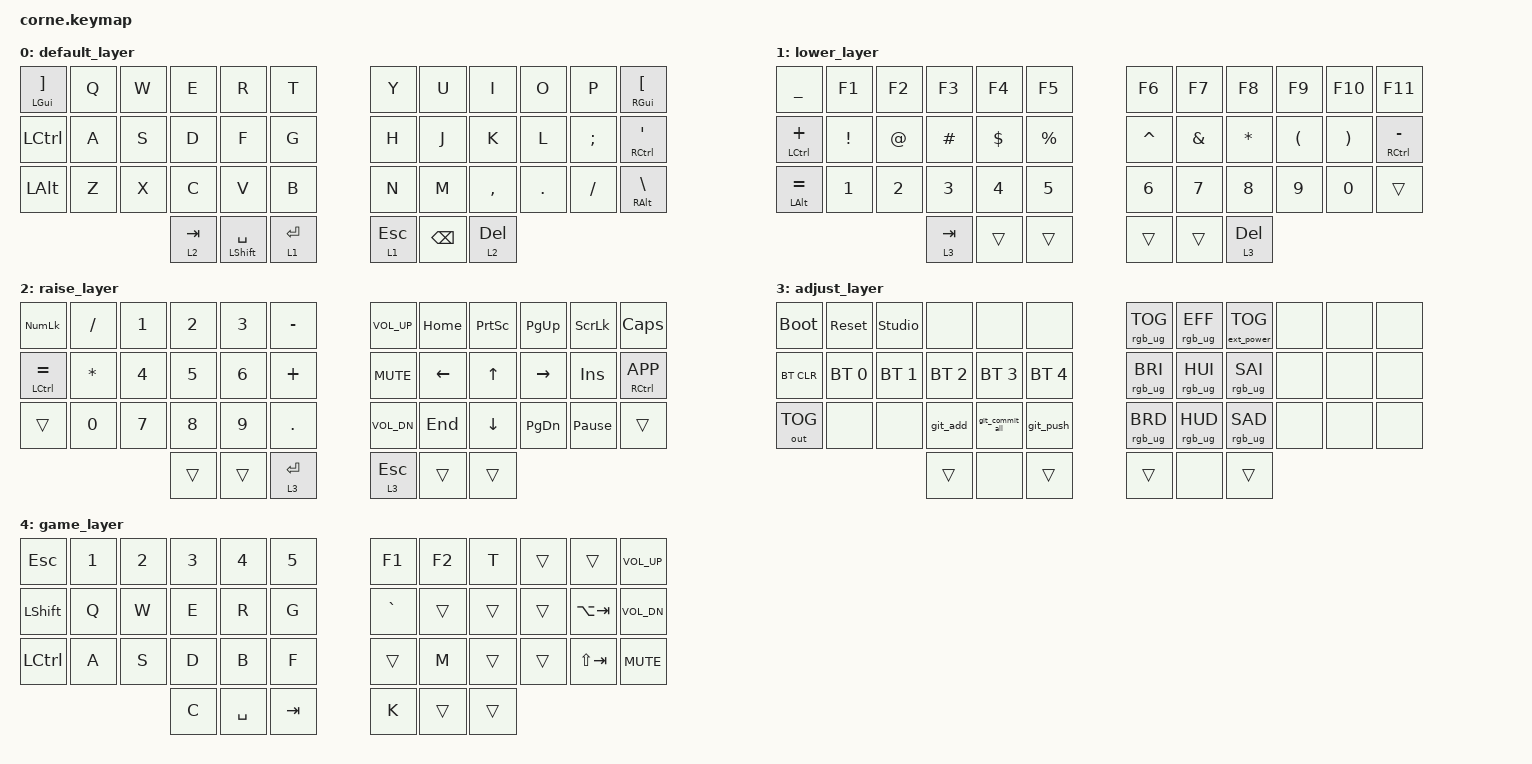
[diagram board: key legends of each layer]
#include <behaviors.dtsi>
#include <dt-bindings/zmk/bt.h>
#include <dt-bindings/zmk/ext_power.h>
#include <dt-bindings/zmk/keys.h>
#include <dt-bindings/zmk/outputs.h>
#include <dt-bindings/zmk/rgb.h>

#define DEF 0
#define LWR 1
#define RSE 2
#define ADJ 3
#define GME 4

&led_strip { chain-length = <27>; };

&lt { quick-tap-ms = <200>; };

&mt { quick-tap-ms = <200>; };

/ {
    combos {
        compatible = "zmk,combos";

        combo_to_game_layer {
            bindings = <&to 4>;
            key-positions = <27 14>;
            layers = <0>;
        };

        combo_to_default {
            bindings = <&to 0>;
            key-positions = <15 3>;
            layers = <4>;
        };

        combo_backspace {
            bindings = <&kp BACKSPACE>;
            key-positions = <37 36>;
            layers = <0>;
        };

        combo_delete {
            bindings = <&kp DEL>;
            key-positions = <37 38>;
            layers = <0>;
        };

        combo_git_pull {
            bindings = <&git_pull>;
            key-positions = <29 28>;
            layers = <3>;
        };

        combo_cs_mic {
            bindings = <&kp K>;
            key-positions = <37 38>;
            layers = <4>;
        };

        combo_copy {
            bindings = <&kp LC(C)>;
            key-positions = <2 3 4>;
            layers = <0>;
        };

        combo_paste {
            bindings = <&kp LC(V)>;
            key-positions = <2 4>;
            layers = <0>;
        };

        combo_cut {
            bindings = <&kp LC(X)>;
            key-positions = <2 3>;
            layers = <0>;
        };
    };

    macros {
        git_status: git_status {
            compatible = "zmk,behavior-macro";
            #binding-cells = <0>;
            bindings = <&kp G &kp I &kp T &kp SPACE &kp S &kp T &kp A &kp T &kp U &kp S>;
            label = "GIT_STATUS";
        };

        git_commit_all: git_commit_all {
            compatible = "zmk,behavior-macro";
            #binding-cells = <0>;
            bindings = <&kp G &kp I &kp T &kp SPACE &kp C &kp O &kp M &kp M &kp I &kp T &kp SPACE &kp MINUS &kp A &kp SPACE &kp MINUS &kp M &kp SPACE &kp DQT &kp DQT &kp LEFT_ARROW>;
            label = "GIT_COMMIT";
        };

        git_add: git_add {
            compatible = "zmk,behavior-macro";
            #binding-cells = <0>;
            bindings = <&kp G &kp I &kp T &kp SPACE &kp A &kp D &kp D &kp SPACE &kp DOT>;
            label = "GIT_ADD";
        };

        git_pull: git_pull {
            compatible = "zmk,behavior-macro";
            #binding-cells = <0>;
            bindings = <&kp G &kp I &kp T &kp SPACE &kp P &kp U &kp L &kp L>;
            label = "GIT_PULL";
        };

        git_push: git_push {
            compatible = "zmk,behavior-macro";
            #binding-cells = <0>;
            bindings = <&kp G &kp I &kp T &kp SPACE &kp P &kp U &kp S &kp H>;
            label = "GIT_PUSH";
        };
    };

    keymap {
        compatible = "zmk,keymap";

        default_layer {
            bindings = <
&mt LEFT_GUI RIGHT_BRACKET  &kp Q  &kp W  &kp E      &kp R            &kp T          &kp Y      &kp U          &kp I      &kp O    &kp P     &mt RIGHT_GUI LEFT_BRACKET
&kp LCTRL                   &kp A  &kp S  &kp D      &kp F            &kp G          &kp H      &kp J          &kp K      &kp L    &kp SEMI  &mt RCTRL SQT
&kp LALT                    &kp Z  &kp X  &kp C      &kp V            &kp B          &kp N      &kp M          &kp COMMA  &kp DOT  &kp FSLH  &mt RALT BSLH
                                          &lt 2 TAB  &mt LSHFT SPACE  &lt 1 ENTER    &lt 1 ESC  &kp BACKSPACE  &lt 2 DEL
            >;
        };

        lower_layer {
            bindings = <
&kp UNDER       &kp F1    &kp F2  &kp F3     &kp F4    &kp F5       &kp F6     &kp F7    &kp F8     &kp F9    &kp F10   &kp F11
&mt LCTRL PLUS  &kp EXCL  &kp AT  &kp HASH   &kp DLLR  &kp PRCNT    &kp CARET  &kp AMPS  &kp STAR   &kp LPAR  &kp RPAR  &mt RCTRL MINUS
&mt LALT EQUAL  &kp N1    &kp N2  &kp N3     &kp N4    &kp N5       &kp N6     &kp N7    &kp N8     &kp N9    &kp N0    &trans
                                  &lt 3 TAB  &trans    &trans       &trans     &trans    &lt 3 DEL
            >;
        };

        raise_layer {
            bindings = <
&kp KP_NUM       &kp SLASH     &kp N1        &kp N2        &kp N3        &kp MINUS      &kp C_VOL_UP  &kp HOME  &kp PSCRN  &kp PG_UP  &kp SLCK         &kp CAPS
&mt LCTRL EQUAL  &kp ASTERISK  &kp N4        &kp N5        &kp N6        &kp PLUS       &kp C_MUTE    &kp LEFT  &kp UP     &kp RIGHT  &kp INS          &mt RCTRL K_APP
&trans           &kp NUMBER_0  &kp NUMBER_7  &kp NUMBER_8  &kp NUMBER_9  &kp PERIOD     &kp C_VOL_DN  &kp END   &kp DOWN   &kp PG_DN  &kp PAUSE_BREAK  &trans
                                             &trans        &trans        &lt 3 ENTER    &lt 3 ESC     &trans    &trans
            >;
        };

        adjust_layer {
            bindings = <
&bootloader   &sys_reset    &studio_unlock  &none         &none            &none           &rgb_ug RGB_TOG  &rgb_ug RGB_EFF  &ext_power EP_TOG  &none  &none  &none
&bt BT_CLR    &bt BT_SEL 0  &bt BT_SEL 1    &bt BT_SEL 2  &bt BT_SEL 3     &bt BT_SEL 4    &rgb_ug RGB_BRI  &rgb_ug RGB_HUI  &rgb_ug RGB_SAI    &none  &none  &none
&out OUT_TOG  &none         &none           &git_add      &git_commit_all  &git_push       &rgb_ug RGB_BRD  &rgb_ug RGB_HUD  &rgb_ug RGB_SAD    &none  &none  &none
                                            &trans        &none            &trans          &trans           &none            &trans
            >;
        };

        game_layer {
            bindings = <
&kp ESCAPE      &kp N1  &kp N2  &kp N3  &kp N4     &kp NUMBER_5    &kp F1     &kp F2  &kp T   &trans  &trans       &kp C_VOL_UP
&kp LEFT_SHIFT  &kp Q   &kp W   &kp E   &kp R      &kp G           &kp GRAVE  &trans  &trans  &trans  &kp LA(TAB)  &kp C_VOL_DN
&kp LCTRL       &kp A   &kp S   &kp D   &kp B      &kp F           &trans     &kp M   &trans  &trans  &kp LS(TAB)  &kp C_MUTE
                                &kp C   &kp SPACE  &kp TAB         &kp K      &trans  &trans
            >;
        };
    };

    conditional_layers { compatible = "zmk,conditional-layers"; };
};
